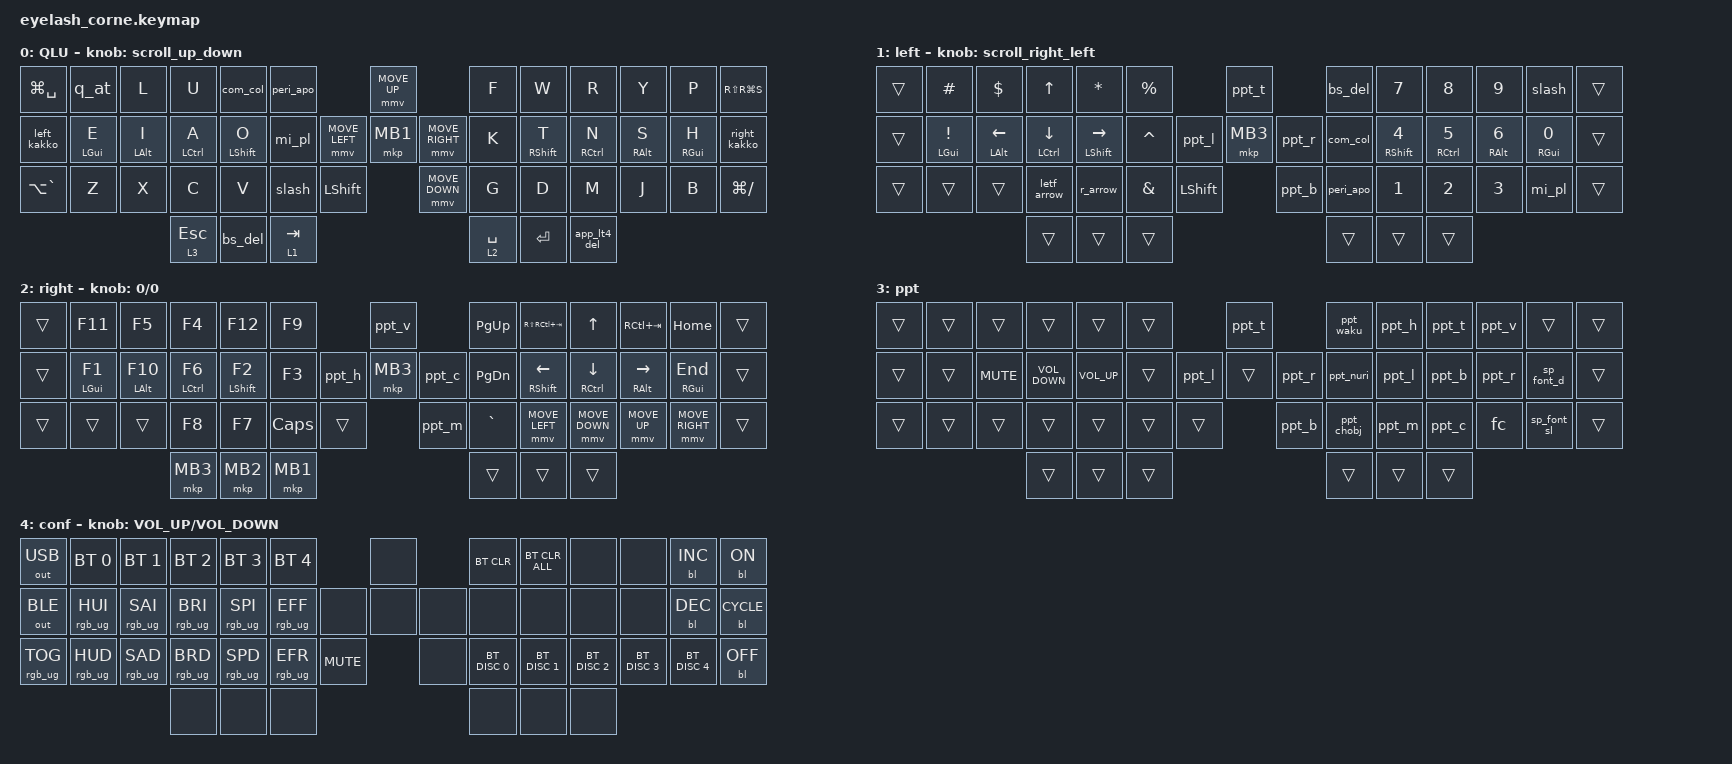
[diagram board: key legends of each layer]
#define ZMK_POINTING_DEFAULT_MOVE_VAL 1200  // 600
#define ZMK_POINTING_DEFAULT_SCRL_VAL 100   // 10

#include <input/processors.dtsi>
#include <zephyr/dt-bindings/input/input-event-codes.h>
#include <behaviors.dtsi>
#include <dt-bindings/zmk/backlight.h>
#include <dt-bindings/zmk/bt.h>
#include <dt-bindings/zmk/keys.h>
#include <dt-bindings/zmk/outputs.h>
#include <dt-bindings/zmk/pointing.h>
#include <dt-bindings/zmk/rgb.h>

&mt {
    tapping-term-ms = <225>;
    quick-tap-ms = <200>;
    require-prior-idle-ms = <150>;
    flavor = "tap-preferred";
};

&lt {
    tapping-term-ms = <175>;
    quick-tap-ms = <200>;
    require-prior-idle-ms = <(-1)>;
    flavor = "balanced";
};

/ {
    combos {
        compatible = "zmk,combos";

        copy {
            bindings = <&kp LC(C)>;
            key-positions = <30 31>;
        };

        shpst {
            bindings = <&kp LS(LC(V))>;
            key-positions = <33 32>;
        };
    };

    behaviors {
        rot_und_zd: rot_und_zd {
            compatible = "zmk,behavior-mod-morph";
            label = "ROT_UND_ZD";
            bindings = <&kp LC(Z)>, <&kp LC(MINUS)>;

            #binding-cells = <0>;
            mods = <(MOD_LSFT|MOD_RSFT)>;
        };

        rot_red_zu: rot_red_zu {
            compatible = "zmk,behavior-mod-morph";
            label = "ROT_RED_ZU";
            bindings = <&kp LC(Y)>, <&kp LC(EQUAL)>;

            #binding-cells = <0>;
            mods = <(MOD_LSFT|MOD_RSFT)>;
        };

        rot_ur_z: rot_ur_z {
            compatible = "zmk,behavior-sensor-rotate-var";
            label = "ROT_UR_Z";
            #sensor-binding-cells = <2>;
            bindings = <&rot_red_zu>, <&rot_und_zd>;
        };

        scroll_up_down: behavior_sensor_rotate_mouse_wheel_up_down {
            compatible = "zmk,behavior-sensor-rotate";
            #sensor-binding-cells = <0>;
            bindings = <&msc SCRL_UP>, <&msc SCRL_DOWN>;

            // 追加: スクロールのタップ時間を設定 (20ms)

            tap-ms = <20>;
        };

        scroll_right_left: behavior_sensor_rotate_mouse_wheel_right_left {
            compatible = "zmk,behavior-sensor-rotate";
            #sensor-binding-cells = <0>;
            bindings = <&msc SCRL_RIGHT>, <&msc SCRL_LEFT>;

            // 追加: スクロールのタップ時間を設定 (20ms)

            tap-ms = <20>;
        };

        bs_del: bs_del {
            compatible = "zmk,behavior-mod-morph";
            label = "BS_DEL";
            bindings = <&kp BACKSPACE>, <&kp DEL>;

            #binding-cells = <0>;
            mods = <(MOD_LSFT|MOD_RSFT)>;
        };

        app_lt4_del: app_lt4_del {
            compatible = "zmk,behavior-tap-dance";
            label = "APP_LT4_DEL";
            #binding-cells = <0>;
            bindings = <&lt 4 K_APPLICATION>, <&kp DELETE>;
        };

        left_kakko: left_kakko {
            compatible = "zmk,behavior-tap-dance";
            label = "LEFT_KAKKO";
            #binding-cells = <0>;
            bindings = <&kp LEFT_PARENTHESIS>, <&kp LEFT_BRACKET>;
        };

        right_kakko: right_kakko {
            compatible = "zmk,behavior-tap-dance";
            label = "RIGHT_KAKKO";
            #binding-cells = <0>;
            bindings = <&kp RIGHT_PARENTHESIS>, <&kp RIGHT_BRACKET>;
        };

        mi_pl: mi_pl {
            compatible = "zmk,behavior-tap-dance";
            label = "MI_PL";
            #binding-cells = <0>;
            bindings = <&kp MINUS>, <&kp EQUAL>;
        };

        com_col: com_col {
            compatible = "zmk,behavior-tap-dance";
            label = "COM_COL";
            #binding-cells = <0>;
            bindings = <&kp COMMA>, <&kp SEMICOLON>;
        };

        slash: slash {
            compatible = "zmk,behavior-tap-dance";
            label = "SLASH";
            #binding-cells = <0>;
            bindings = <&kp SLASH>, <&kp BACKSLASH>;
        };

        peri_apo: peri_apo {
            compatible = "zmk,behavior-tap-dance";
            label = "PERI_APO";
            #binding-cells = <0>;
            bindings = <&kp PERIOD>, <&kp APOS>;
        };

        q_at: q_at {
            compatible = "zmk,behavior-tap-dance";
            label = "Q_AT";
            #binding-cells = <0>;
            bindings = <&kp Q>, <&kp AT>;
        };

        lang: lang {
            compatible = "zmk,behavior-tap-dance";
            label = "LANG";
            #binding-cells = <0>;
            bindings = <&kp LANG1>, <&kp LANG2>;
        };
    };

    macros {
        letf_arrow: letf_arrow {
            compatible = "zmk,behavior-macro";
            #binding-cells = <0>;
            bindings = <&kp LT &kp MINUS>;
            label = "LETF_ARROW";
        };

        r_arrow: r_arrow {
            compatible = "zmk,behavior-macro";
            #binding-cells = <0>;
            bindings = <&kp MINUS &kp GT>;
            label = "R_ARROW";
        };

        ppt_l: ppt_l {
            compatible = "zmk,behavior-macro";
            #binding-cells = <0>;
            bindings = <&kp LA(H) &kp G &kp A &kp L>;
            label = "PPT_L";
        };

        ppt_t: ppt_t {
            compatible = "zmk,behavior-macro";
            #binding-cells = <0>;
            bindings = <&kp LA(H) &kp G &kp A &kp T>;
            label = "PPT_T";
        };

        ppt_b: ppt_b {
            compatible = "zmk,behavior-macro";
            #binding-cells = <0>;
            bindings = <&kp LA(H) &kp G &kp A &kp B>;
            label = "PPT_B";
        };

        ppt_r: ppt_r {
            compatible = "zmk,behavior-macro";
            #binding-cells = <0>;
            bindings = <&kp LA(H) &kp G &kp A &kp R>;
            label = "PPT_R";
        };

        ppt_h: ppt_h {
            compatible = "zmk,behavior-macro";
            #binding-cells = <0>;
            bindings = <&kp LA(H) &kp G &kp A &kp H>;
            label = "PPT_H";
        };

        ppt_v: ppt_v {
            compatible = "zmk,behavior-macro";
            #binding-cells = <0>;
            bindings = <&kp LA(H) &kp G &kp A &kp V>;
            label = "PPT_V";
        };

        ppt_m: ppt_m {
            compatible = "zmk,behavior-macro";
            #binding-cells = <0>;
            bindings = <&kp LA(H) &kp G &kp A &kp M>;
            label = "PPT_M";
        };

        ppt_c: ppt_c {
            compatible = "zmk,behavior-macro";
            #binding-cells = <0>;
            bindings = <&kp LA(H) &kp G &kp A &kp C>;
            label = "PPT_C";
        };

        ppt_waku: ppt_waku {
            compatible = "zmk,behavior-macro";
            #binding-cells = <0>;
            bindings = <&kp LEFT_ALT &kp J &kp D &kp S &kp O>;
            label = "PPT_WAKU";
        };

        ppt_nuri: ppt_nuri {
            compatible = "zmk,behavior-macro";
            #binding-cells = <0>;
            bindings = <&kp LEFT_ALT &kp J &kp D &kp S &kp F>;
            label = "PPT_NURI";
        };

        ppt_chobj: ppt_chobj {
            compatible = "zmk,behavior-macro";
            #binding-cells = <0>;
            bindings = <&kp LEFT_ALT &kp J &kp D &kp E>;
            label = "PPT_CHOBJ";
        };

        fc: fc {
            compatible = "zmk,behavior-macro";
            #binding-cells = <0>;
            bindings = <&kp LA(H) &kp F &kp C>;
            label = "FC";
        };

        sp_font_d: sp_font {
            compatible = "zmk,behavior-macro";
            #binding-cells = <0>;
            bindings =
                <&kp LA(I)>,
                <&macro_wait_time 100>,
                <&kp LS(Y)>,
                <&macro_wait_time 100>,
                <&kp C>;

            label = "SP_FONT";
        };

        sp_font_sl: sp_font_sl {
            compatible = "zmk,behavior-macro";
            #binding-cells = <0>;
            bindings = <&kp LA(I)>, <&macro_wait_time 100>, <&kp C>;

            label = "SP_FONT_SL";
        };
    };

    keymap {
        compatible = "zmk,keymap";

        default_layer {
            display-name = "QLU";
            bindings = <
&kp LG(SPACE)  &q_at           &kp L           &kp U        &com_col          &peri_apo                                    &mmv MOVE_UP                     &kp F        &kp W         &kp R                &kp Y            &kp P            &kp RS(RG(S))
&left_kakko    &mt LEFT_GUI E  &mt LEFT_ALT I  &mt LCTRL A  &mt LEFT_SHIFT O  &mi_pl                       &mmv MOVE_LEFT  &mkp MB1        &mmv MOVE_RIGHT  &kp K        &mt RSHIFT T  &mt RIGHT_CONTROL N  &mt RIGHT_ALT S  &mt RIGHT_GUI H  &right_kakko
&kp LA(GRAVE)  &kp Z           &kp X           &kp C        &kp V             &slash     &kp LEFT_SHIFT                    &mmv MOVE_DOWN                   &kp G        &kp D         &kp M                &kp J            &kp B            &kp LG(SLASH)
                                               &lt 3 ESC    &bs_del           &lt 1 TAB                                                                     &lt 2 SPACE  &kp ENTER     &app_lt4_del
            >;

            sensor-bindings = <&scroll_up_down>;
        };

        left {
            display-name = "left";
            bindings = <
&trans  &kp HASH                  &kp DOLLAR               &kp UP_ARROW                 &kp ASTERISK           &kp PERCENT                              &ppt_t            &bs_del    &kp N7                    &kp N8                &kp N9                  &slash            &trans
&trans  &mt LEFT_GUI EXCLAMATION  &mt LEFT_ALT LEFT_ARROW  &mt LEFT_CONTROL DOWN_ARROW  &mt LSHFT RIGHT_ARROW  &kp CARET                        &ppt_l  &mkp MB3  &ppt_r  &com_col   &mt RIGHT_SHIFT NUMBER_4  &mt RIGHT_CONTROL N5  &mt RIGHT_ALT NUMBER_6  &mt RIGHT_GUI N0  &trans
&trans  &trans                    &trans                   &letf_arrow                  &r_arrow               &kp AMPERSAND  &kp LEFT_SHIFT            &ppt_b            &peri_apo  &kp N1                    &kp N2                &kp NUMBER_3            &mi_pl            &trans
                                                           &trans                       &trans                 &trans                                                     &trans     &trans                    &trans
            >;

            sensor-bindings = <&scroll_right_left>;
        };

        right {
            display-name = "right";
            bindings = <
&trans  &kp F11          &kp F5            &kp F4               &kp F12            &kp F9                      &ppt_v            &kp PAGE_UP    &kp RS(RC(TAB))       &kp UP                        &kp RC(TAB)          &kp HOME           &trans
&trans  &mt LEFT_GUI F1  &mt LEFT_ALT F10  &mt LEFT_CONTROL F6  &mt LEFT_SHIFT F2  &kp F3              &ppt_h  &mkp MB3  &ppt_c  &kp PAGE_DOWN  &mt RIGHT_SHIFT LEFT  &mt RIGHT_CONTROL DOWN_ARROW  &mt RIGHT_ALT RIGHT  &mt RIGHT_GUI END  &trans
&trans  &trans           &trans            &kp F8               &kp F7             &kp CAPS  &trans            &ppt_m            &kp GRAVE      &mmv MOVE_LEFT        &mmv MOVE_DOWN                &mmv MOVE_UP         &mmv MOVE_RIGHT    &trans
                                           &mkp MB3             &mkp MB2           &mkp MB1                                      &trans         &trans                &trans
            >;

            sensor-bindings = <&rot_ur_z 0 0>;
        };

        ppt {
            bindings = <
&trans  &trans  &trans      &trans             &trans           &trans                    &ppt_t          &ppt_waku   &ppt_h  &ppt_t  &ppt_v  &trans       &trans
&trans  &trans  &kp C_MUTE  &kp C_VOLUME_DOWN  &kp C_VOLUME_UP  &trans            &ppt_l  &trans  &ppt_r  &ppt_nuri   &ppt_l  &ppt_b  &ppt_r  &sp_font_d   &trans
&trans  &trans  &trans      &trans             &trans           &trans  &trans            &ppt_b          &ppt_chobj  &ppt_m  &ppt_c  &fc     &sp_font_sl  &trans
                            &trans             &trans           &trans                                    &trans      &trans  &trans
            >;
        };

        conf {
            display-name = "conf";
            bindings = <
&out OUT_USB     &bt BT_SEL 0     &bt BT_SEL 1     &bt BT_SEL 2     &bt BT_SEL 3     &bt BT_SEL 4                          &none         &bt BT_CLR     &bt BT_CLR_ALL  &none          &none          &bl BL_INC     &bl BL_ON
&out OUT_BLE     &rgb_ug RGB_HUI  &rgb_ug RGB_SAI  &rgb_ug RGB_BRI  &rgb_ug RGB_SPI  &rgb_ug RGB_EFF                &none  &none  &none  &none          &none           &none          &none          &bl BL_DEC     &bl BL_CYCLE
&rgb_ug RGB_TOG  &rgb_ug RGB_HUD  &rgb_ug RGB_SAD  &rgb_ug RGB_BRD  &rgb_ug RGB_SPD  &rgb_ug RGB_EFR  &kp K_MUTE           &none         &bt BT_DISC 0  &bt BT_DISC 1   &bt BT_DISC 2  &bt BT_DISC 3  &bt BT_DISC 4  &bl BL_OFF
                                                   &none            &none            &none                                               &none          &none           &none
            >;

            sensor-bindings = <&inc_dec_kp C_VOLUME_UP C_VOLUME_DOWN>;
        };
    };
};
